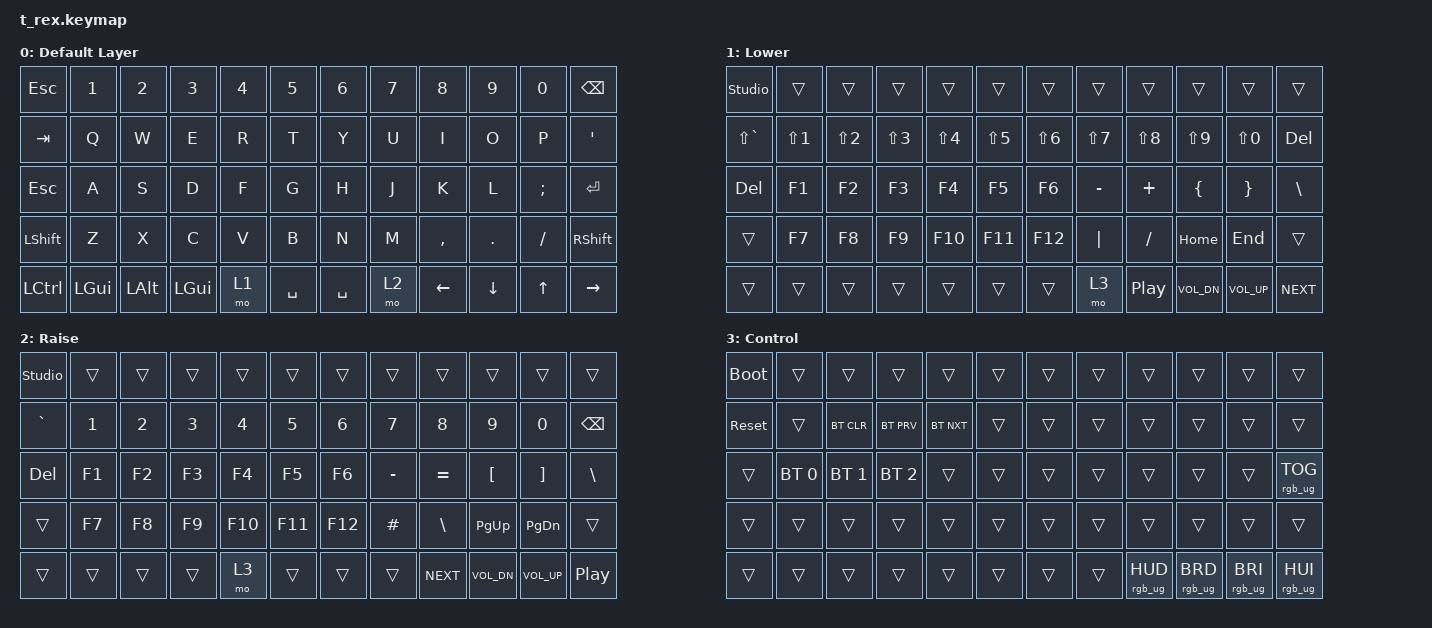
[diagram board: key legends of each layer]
/*
 * Copyright (c) 2020 The ZMK Contributors
 *
 * SPDX-License-Identifier: MIT
 */

#include <behaviors.dtsi>
#include <dt-bindings/zmk/keys.h>
#include <dt-bindings/zmk/bt.h>
#include <dt-bindings/zmk/rgb.h>

/ {
    keymap {
        compatible = "zmk,keymap";

        default_layer {
            display-name = "Default Layer";
            // |  ESC  |  1   |  2   |  3   |  4   |  5   |  6   |  7   |  8   |  9   |   0   | BSPC  |
            // |  TAB  |  Q   |  W   |  E   |  R   |  T   |  Y   |  U   |  I   |  O   |   P   | BSPC  |
            // |  ESC  |  A   |  S   |  D   |  F   |  G   |  H   |  J   |  K   |  L   |   ;   |  RET  |
            // | SHIFT |  Z   |  X   |  C   |  V   |  B   |  N   |  M   |  ,   |  .   |   /   | SHIFT |
            // | LCTRL | LGUI |LALT  | LGUI | LOWR |   SPA|CE    | RAIS | LEFT | DOWN |  UP   | RIGHT |
            bindings = <
                &kp ESC   &kp N1   &kp N2   &kp N3  &kp N4  &kp N5  &kp N6  &kp N7  &kp N8   &kp N9   &kp N0   &kp BSPC
                &kp TAB   &kp Q    &kp W    &kp E   &kp R   &kp T   &kp Y   &kp U   &kp I    &kp O    &kp P    &kp SQT
                &kp ESC   &kp A    &kp S    &kp D   &kp F   &kp G   &kp H   &kp J   &kp K    &kp L    &kp SEMI &kp RET
                &kp LSHFT &kp Z    &kp X    &kp C   &kp V   &kp B   &kp N   &kp M  &kp COMMA &kp DOT  &kp SLASH &kp RSHFT
                &kp LCTRL &kp LGUI &kp LALT &kp LGUI &mo 1 &kp SPACE &kp SPACE &mo 2 &kp LEFT &kp DOWN &kp UP &kp RIGHT
            >;
        };

        lower {
            display-name = "Lower";
            bindings = <
            // | UNLOCK|  1   |  2   |  3   |  4   |  5   |  6   |  7   |  8   |  9   |   0   | BSPC  |
            // |  TAB  |  !   |  @   |  #   |  $   |  %   |  ^   |  &   |  *   |  (   |   )   |  DEL  |
            // |  ESC  |  F1  |  F2  |  F3  |  F4  |  F5  |  F6  |  -   |  +   |  [   |   ]   |   \   |
            // | SHIFT |  F7  |  F8  |  F9  |  F10 |  F11 |  F12 |  |   |  /   | HOME |  END  | SHIFT |
            // | LCTRL | LGUI |LALT  | LGUI |      |   SPA|CE    | CONF |M PREV|VOL DN| VOL UP| M NEXT|
                &studio_unlock &trans &trans &trans &trans &trans &trans &trans &trans &trans &trans &trans
                &kp LS(GRAVE) &kp LS(N1) &kp LS(N2) &kp LS(N3) &kp LS(N4) &kp LS(N5) &kp LS(N6) &kp LS(N7) &kp LS(N8) &kp LS(N9) &kp LS(N0) &kp DEL
                &kp DEL &kp F1 &kp F2 &kp F3 &kp F4 &kp F5 &kp F6 &kp MINUS &kp PLUS &kp LBRC &kp RBRC &kp BSLH
                &trans &kp F7 &kp F8 &kp F9 &kp F10 &kp F11 &kp F12 &kp PIPE &kp SLASH &kp HOME &kp END &trans
                &trans &trans &trans &trans &trans &trans &trans &mo 3 &kp C_PP &kp C_VOL_DN &kp C_VOL_UP &kp C_NEXT
            >;
        };

        raise {
            display-name = "Raise";
            bindings = <
                &studio_unlock &trans &trans &trans &trans &trans &trans &trans &trans &trans &trans &trans
                &kp GRAVE &kp N1 &kp N2 &kp N3 &kp N4 &kp N5 &kp N6 &kp N7 &kp N8 &kp N9 &kp N0 &kp BSPC
                &kp DEL &kp F1 &kp F2 &kp F3 &kp F4 &kp F5 &kp F6 &kp MINUS &kp EQUAL &kp LBKT &kp RBKT &kp BSLH
                &trans &kp F7 &kp F8 &kp F9 &kp F10 &kp F11 &kp F12 &kp HASH &kp BSLH &kp PG_UP &kp PG_DN &trans
                &trans &trans &trans &trans &mo 3 &trans &trans &trans &kp C_NEXT &kp C_VOL_DN &kp C_VOL_UP &kp C_PP
            >;
        };

        control {
            display-name = "Control";
            bindings = <
            // |BOOTLOADER|          |          |          |          |          |      |      |             |          |          |
            // |SYS RESET |          | BT CLEAR | BT PREV  | BT NEXT  |          |      |      |             |          |          |
            // |          | BT DVC 0 | BT DVC 1 | BT DVC 2 |          |          |      |      |             |          |          | RGB ON/OFF
            // |          |          |          |          |          |          |      |      |             |          |          |
            // |          |          |          |          |          |          |      |      | RGB HUE DN  |RGB BR DN |RGB BR UP | RGB HUE UP
                &bootloader &trans    &trans     &trans     &trans     &trans     &trans &trans &trans         &trans     &trans     &trans
                &sys_reset &trans     &bt BT_CLR &bt BT_PRV &bt BT_NXT &trans     &trans &trans &trans         &trans     &trans     &trans
                &trans     &bt BT_SEL 0 &bt BT_SEL 1 &bt BT_SEL 2 &trans &trans   &trans &trans &trans         &trans     &trans     &rgb_ug RGB_TOG
                &trans     &trans     &trans     &trans     &trans     &trans     &trans &trans &trans         &trans     &trans     &trans
                &trans     &trans     &trans     &trans     &trans     &trans     &trans &trans &rgb_ug RGB_HUD &rgb_ug RGB_BRD &rgb_ug RGB_BRI &rgb_ug RGB_HUI
            >;
        };
    };
};
